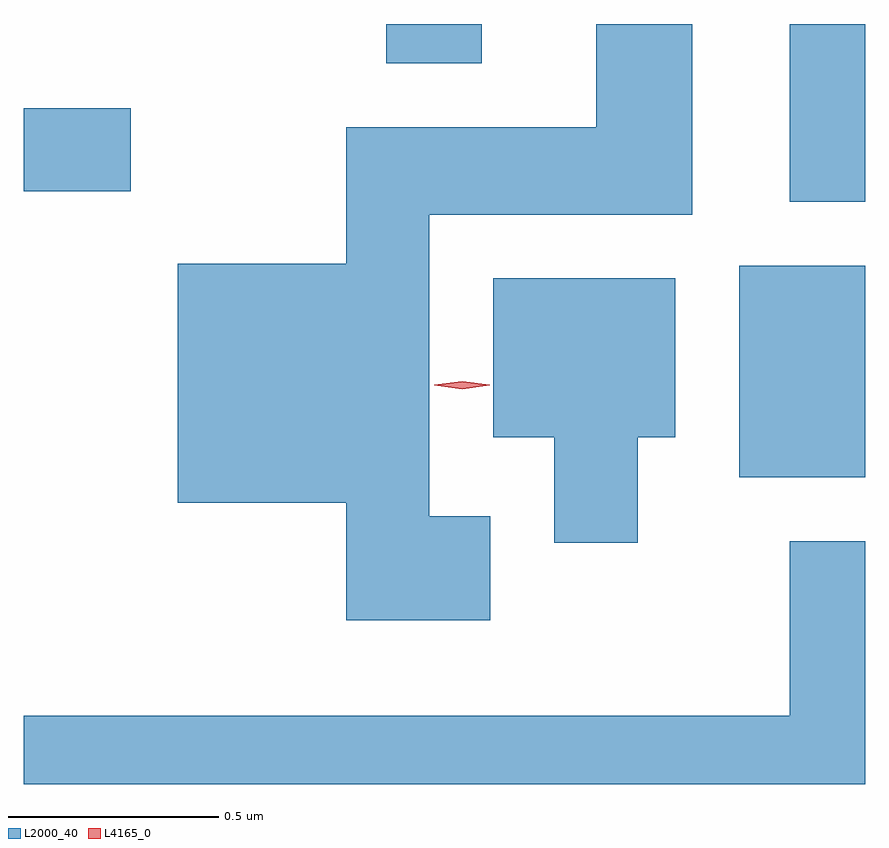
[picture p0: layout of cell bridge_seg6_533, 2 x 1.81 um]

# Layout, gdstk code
import gdstk
lib = gdstk.Library(unit=1e-6, precision=1e-09)
def R(c, l, rs):  # rectangles x0, y0, x1, y1
    for r in rs: c.add(gdstk.rectangle(r[:2], r[2:], *l))
def P(c, l, *ps):  # polygons
    for p in ps: c.add(gdstk.Polygon(p, *l))
L2000_40 = (2000, 40)
L4165_0 = (4165, 0)

bridge_seg6_533 = lib.new_cell('bridge_seg6_533')
R(bridge_seg6_533, L2000_40, [(872.611,1530.891,872.91,1531.394), (872.731,1531.546,872.91,1531.969), (870.91,1531.571,871.164,1531.769), (871.771,1531.876,871.999,1531.969)])
P(bridge_seg6_533, L2000_40, [(872.019,1530.799),(871.874,1530.799),(871.874,1531.516),(872.499,1531.516),(872.499,1531.969),(872.271,1531.969),(872.271,1531.724),(871.676,1531.724),(871.676,1531.399),(871.276,1531.399),(871.276,1530.831),(871.676,1530.831),(871.676,1530.551),(872.019,1530.551)],
  [(872.369,1530.986),(872.459,1530.986),(872.459,1531.364),(872.026,1531.364),(872.026,1530.986),(872.171,1530.986),(872.171,1530.736),(872.369,1530.736)],
  [(872.91,1530.739),(872.731,1530.739),(872.731,1530.324),(870.91,1530.324),(870.91,1530.162),(872.91,1530.162)])
P(bridge_seg6_533, L4165_0, [(871.952,1531.1),(871.886,1531.11),(871.886,1531.11),(871.886,1531.111),(871.952,1531.12),(872.017,1531.111),(872.018,1531.11),(872.017,1531.11)])

lib.write_gds('bridge_seg6_533.gds')
